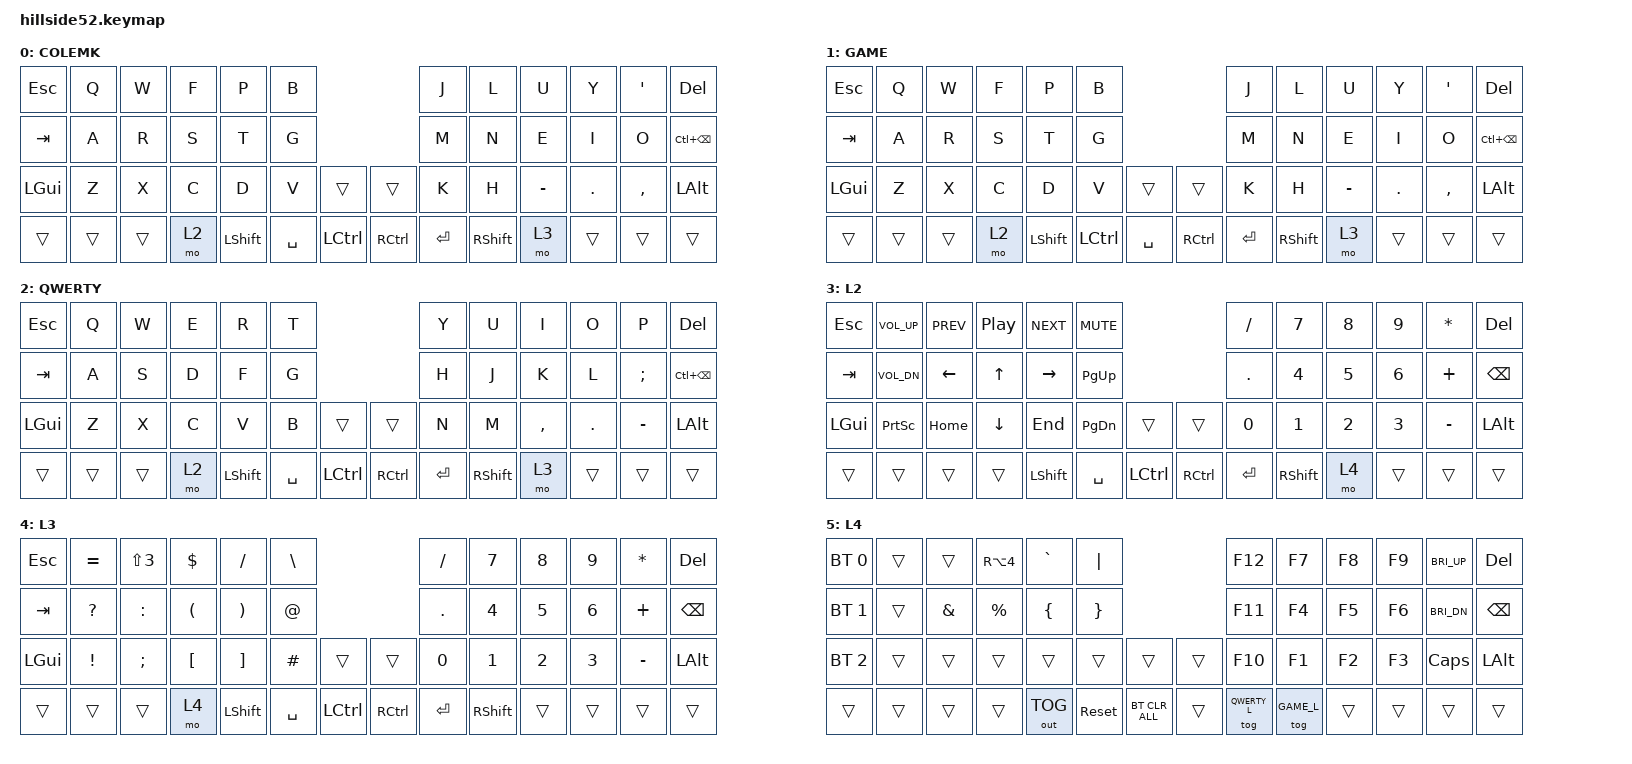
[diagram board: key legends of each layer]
/*
 * Copyright (c) 2021-2022 The ZMK Contributors
 *
 * SPDX-License-Identifier: MIT
 */

#include <behaviors.dtsi>
#include <dt-bindings/zmk/bt.h>
#include <dt-bindings/zmk/ext_power.h>
#include <dt-bindings/zmk/keys.h>
#include <dt-bindings/zmk/outputs.h>
#include <dt-bindings/zmk/rgb.h>

#define COLEMK_L 0
#define GAME_L   1
#define QWERTY_L 2
#define L2       3
#define L3       4
#define L4       5

#define Undo   LC(Z)
#define Cut    LC(X)
#define Copy   LC(C)
#define Paste  LC(V)
#define Redo   LC(Y)
#define All    LC(A)
#define CBack  LC(BSPC)
#define Euro   RA(N4)
#define PndSn  LS(N3)

// RGB color macros
#define RGB_WHITE  RGB_COLOR_HSB(0,0,100)
#define RGB_RED    RGB_COLOR_HSB(0,100,100)
#define RGB_GREEN  RGB_COLOR_HSB(120,100,100)
#define RGB_BLUE   RGB_COLOR_HSB(240,100,100)
#define RGB_PURPLE RGB_COLOR_HSB(300,100,100)

&sk {
    release-after-ms = <200>;
    quick-release;
};

/ {
        keymap {
                compatible = "zmk,keymap";

                colemak_layer {
                        label = "COLEMK";
                        bindings = <
&kp  ESC      &kp  Q        &kp  W        &kp  F        &kp  P        &kp  B                                     &kp  J        &kp  L        &kp  U        &kp  Y        &kp  SQT      &kp  DEL
&kp  TAB      &kp  A        &kp  R        &kp  S        &kp  T        &kp  G                                     &kp  M        &kp  N        &kp  E        &kp  I        &kp  O        &kp  CBack
&kp  LGUI     &kp  Z        &kp  X        &kp  C        &kp  D        &kp  V        &trans         &trans        &kp  K        &kp  H        &kp  MINUS    &kp  DOT      &kp  COMMA    &kp  LALT
&trans        &trans        &trans        &mo  L2       &kp  LSHIFT   &kp  SPACE    &kp  LCTRL     &kp  RCTRL    &kp  ENTER    &kp  RSHIFT   &mo  L3       &trans        &trans        &trans
                        >;
                };

                game_layer {
                        label = "GAME";
                        bindings = <
&kp  ESC      &kp  Q        &kp  W        &kp  F        &kp  P        &kp  B                                     &kp  J        &kp  L        &kp  U        &kp  Y        &kp  SQT      &kp  DEL
&kp  TAB      &kp  A        &kp  R        &kp  S        &kp  T        &kp  G                                     &kp  M        &kp  N        &kp  E        &kp  I        &kp  O        &kp  CBack
&kp  LGUI     &kp  Z        &kp  X        &kp  C        &kp  D        &kp  V        &trans         &trans        &kp  K        &kp  H        &kp  MINUS    &kp  DOT      &kp  COMMA    &kp  LALT
&trans        &trans        &trans        &mo  L2       &kp  LSHIFT   &kp  LCTRL    &kp  SPACE     &kp  RCTRL    &kp  ENTER    &kp  RSHIFT   &mo  L3       &trans        &trans        &trans
                        >;
                };

                qwerty_layer {
                        label = "QWERTY";
                        bindings = <
&kp  ESC      &kp  Q        &kp  W        &kp  E        &kp  R        &kp  T                                     &kp  Y        &kp  U        &kp  I        &kp  O        &kp  P        &kp  DEL
&kp  TAB      &kp  A        &kp  S        &kp  D        &kp  F        &kp  G                                     &kp  H        &kp  J        &kp  K        &kp  L        &kp  SEMI     &kp  CBack
&kp  LGUI     &kp  Z        &kp  X        &kp  C        &kp  V        &kp  B        &trans         &trans        &kp  N        &kp  M        &kp  COMMA    &kp  DOT      &kp  MINUS    &kp  LALT
&trans        &trans        &trans        &mo  L2       &kp  LSHIFT   &kp  SPACE    &kp  LCTRL     &kp  RCTRL    &kp  ENTER    &kp  RSHIFT   &mo  L3       &trans        &trans        &trans
                        >;
                };

                l2_layer {
                        label = "L2";
                        bindings = <
&kp  ESC      &kp  C_VOL_UP &kp  C_PREV   &kp  C_PP     &kp  C_NEXT   &kp  C_MUTE                                &kp  SLASH    &kp  N7       &kp  N8       &kp  N9       &kp  STAR     &kp  DEL
&kp  TAB      &kp  C_VOL_DN &kp  LEFT     &kp  UP       &kp  RIGHT    &kp  PG_UP                                 &kp  DOT      &kp  N4       &kp  N5       &kp  N6       &kp  PLUS     &kp  BSPC
&kp  LGUI     &kp  PSCRN    &kp  HOME     &kp  DOWN     &kp  END      &kp  PG_DN    &trans         &trans        &kp  N0       &kp  N1       &kp  N2       &kp  N3       &kp  MINUS    &kp  LALT
&trans        &trans        &trans        &trans        &kp  LSHIFT   &kp  SPACE    &kp  LCTRL     &kp  RCTRL    &kp  ENTER    &kp  RSHIFT   &mo  L4       &trans        &trans        &trans
                        >;
                };

                l3_layer {
                        label = "L3";
                        bindings = <
&kp  ESC      &kp  EQUAL    &kp  PndSn    &kp  DOLLAR   &kp  SLASH    &kp  BSLH                                  &kp  SLASH    &kp  N7       &kp  N8       &kp  N9       &kp  STAR     &kp  DEL
&kp  TAB      &kp  QMARK    &kp  COLON    &kp  LPAR     &kp  RPAR     &kp  AT                                    &kp  DOT      &kp  N4       &kp  N5       &kp  N6       &kp  PLUS     &kp  BSPC
&kp  LGUI     &kp  EXCL     &kp  SEMI     &kp  LBKT     &kp  RBKT     &kp  HASH     &trans         &trans        &kp  N0       &kp  N1       &kp  N2       &kp  N3       &kp  MINUS    &kp  LALT
&trans        &trans        &trans        &mo  L4       &kp  LSHIFT   &kp  SPACE    &kp  LCTRL     &kp  RCTRL    &kp  ENTER    &kp  RSHIFT   &trans        &trans        &trans        &trans
                        >;
                };

                l4_layer {
                        label = "L4";
                        bindings = <
&bt  BT_SEL 0 &trans        &trans        &kp  Euro     &kp  GRAVE      &kp  PIPE                                  &kp  F12      &kp  F7       &kp  F8       &kp  F9       &kp  C_BRI_UP &kp  DEL
&bt  BT_SEL 1 &trans        &kp  AMPS     &kp  PERCENT  &kp  LBRC       &kp  RBRC                                  &kp  F11      &kp  F4       &kp  F5       &kp  F6       &kp  C_BRI_DN &kp  BSPC
&bt  BT_SEL 2 &trans        &trans        &trans        &trans          &trans       &trans          &trans        &kp  F10      &kp  F1       &kp  F2       &kp  F3       &kp  CAPS     &kp  LALT
&trans        &trans        &trans        &trans       &out OUT_TOG  &sys_reset      &bt  BT_CLR_ALL &trans        &tog QWERTY_L &tog GAME_L   &trans        &trans        &trans        &trans        
                        >;
                };
        };
};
